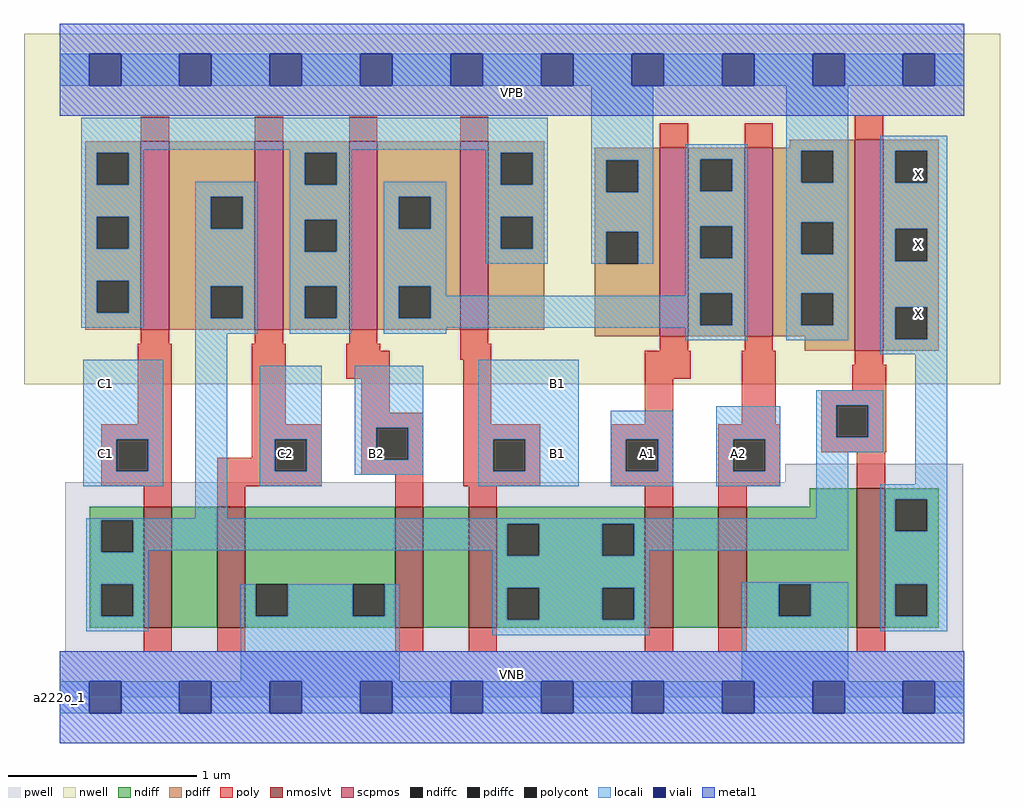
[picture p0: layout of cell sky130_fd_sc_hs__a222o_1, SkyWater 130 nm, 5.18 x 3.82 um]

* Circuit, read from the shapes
.subckt sky130_fd_sc_hs__a222o_1 A1 A2 B1 B2 C1 C2 VGND VNB VPB VPWR X
XM1 n1 C1 n2 VNB sky130_fd_pr__nfet_01v8_lvt w=0.64 l=0.15
XM2 VGND C2 n1 VNB sky130_fd_pr__nfet_01v8_lvt w=0.64 l=0.15
XM3 n3 B2 VGND VNB sky130_fd_pr__nfet_01v8_lvt w=0.64 l=0.15
XM4 n2 B1 n3 VNB sky130_fd_pr__nfet_01v8_lvt w=0.64 l=0.15
XM5 n4 A1 n2 VNB sky130_fd_pr__nfet_01v8_lvt w=0.64 l=0.15
XM6 VGND A2 n4 VNB sky130_fd_pr__nfet_01v8_lvt w=0.64 l=0.15
XM7 X n2 VGND VNB sky130_fd_pr__nfet_01v8_lvt w=0.74 l=0.15
XM8 n2 C1 n5 VPB sky130_fd_pr__pfet_01v8 w=1 l=0.15
XM9 n5 C2 n2 VPB sky130_fd_pr__pfet_01v8 w=1 l=0.15
XM10 n6 B2 n5 VPB sky130_fd_pr__pfet_01v8 w=1 l=0.15
XM11 n5 B1 n6 VPB sky130_fd_pr__pfet_01v8 w=1 l=0.15
XM12 n6 A1 VPWR VPB sky130_fd_pr__pfet_01v8 w=1 l=0.15
XM13 VPWR A2 n6 VPB sky130_fd_pr__pfet_01v8 w=1 l=0.15
XM14 X n2 VPWR VPB sky130_fd_pr__pfet_01v8 w=1.12 l=0.15
.ends

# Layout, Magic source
magic
tech sky130A
magscale 1 2
<< nwell >>
rect -38 332 998 704
<< pwell >>
rect 770 228 959 248
rect 6 49 959 228
rect 0 0 960 49
<< scpmos >>
rect 86 390 116 590
rect 207 390 237 590
rect 307 390 337 590
rect 425 390 455 590
rect 637 383 667 583
rect 727 383 757 583
rect 844 368 874 592
<< nmoslvt >>
rect 89 74 119 202
rect 167 74 197 202
rect 356 74 386 202
rect 434 74 464 202
rect 621 74 651 202
rect 699 74 729 202
rect 846 74 876 222
<< ndiff >>
rect 796 202 846 222
rect 32 188 89 202
rect 32 154 44 188
rect 78 154 89 188
rect 32 120 89 154
rect 32 86 44 120
rect 78 86 89 120
rect 32 74 89 86
rect 119 74 167 202
rect 197 120 356 202
rect 197 86 208 120
rect 242 86 311 120
rect 345 86 356 120
rect 197 74 356 86
rect 386 74 434 202
rect 464 184 621 202
rect 464 150 475 184
rect 509 150 576 184
rect 610 150 621 184
rect 464 116 621 150
rect 464 82 475 116
rect 509 82 576 116
rect 610 82 621 116
rect 464 74 621 82
rect 651 74 699 202
rect 729 120 846 202
rect 729 86 763 120
rect 797 86 846 120
rect 729 74 846 86
rect 876 210 933 222
rect 876 176 887 210
rect 921 176 933 210
rect 876 120 933 176
rect 876 86 887 120
rect 921 86 933 120
rect 876 74 933 86
<< pdiff >>
rect 27 578 86 590
rect 27 544 39 578
rect 73 544 86 578
rect 27 510 86 544
rect 27 476 39 510
rect 73 476 86 510
rect 27 442 86 476
rect 27 408 39 442
rect 73 408 86 442
rect 27 390 86 408
rect 116 531 207 590
rect 116 497 160 531
rect 194 497 207 531
rect 116 436 207 497
rect 116 402 160 436
rect 194 402 207 436
rect 116 390 207 402
rect 237 578 307 590
rect 237 544 260 578
rect 294 544 307 578
rect 237 507 307 544
rect 237 473 260 507
rect 294 473 307 507
rect 237 436 307 473
rect 237 402 260 436
rect 294 402 307 436
rect 237 390 307 402
rect 337 531 425 590
rect 337 497 360 531
rect 394 497 425 531
rect 337 436 425 497
rect 337 402 360 436
rect 394 402 425 436
rect 337 390 425 402
rect 455 578 514 590
rect 775 583 844 592
rect 455 544 468 578
rect 502 544 514 578
rect 455 510 514 544
rect 455 476 468 510
rect 502 476 514 510
rect 455 390 514 476
rect 568 570 637 583
rect 568 536 580 570
rect 614 536 637 570
rect 568 494 637 536
rect 568 460 580 494
rect 614 460 637 494
rect 568 383 637 460
rect 667 571 727 583
rect 667 537 680 571
rect 714 537 727 571
rect 667 500 727 537
rect 667 466 680 500
rect 714 466 727 500
rect 667 429 727 466
rect 667 395 680 429
rect 714 395 727 429
rect 667 383 727 395
rect 757 580 844 583
rect 757 546 787 580
rect 821 546 844 580
rect 757 504 844 546
rect 757 470 787 504
rect 821 470 844 504
rect 757 429 844 470
rect 757 395 787 429
rect 821 395 844 429
rect 757 383 844 395
rect 791 368 844 383
rect 874 580 933 592
rect 874 546 887 580
rect 921 546 933 580
rect 874 497 933 546
rect 874 463 887 497
rect 921 463 933 497
rect 874 414 933 463
rect 874 380 887 414
rect 921 380 933 414
rect 874 368 933 380
<< ndiffc >>
rect 44 154 78 188
rect 44 86 78 120
rect 208 86 242 120
rect 311 86 345 120
rect 475 150 509 184
rect 576 150 610 184
rect 475 82 509 116
rect 576 82 610 116
rect 763 86 797 120
rect 887 176 921 210
rect 887 86 921 120
<< pdiffc >>
rect 39 544 73 578
rect 39 476 73 510
rect 39 408 73 442
rect 160 497 194 531
rect 160 402 194 436
rect 260 544 294 578
rect 260 473 294 507
rect 260 402 294 436
rect 360 497 394 531
rect 360 402 394 436
rect 468 544 502 578
rect 468 476 502 510
rect 580 536 614 570
rect 580 460 614 494
rect 680 537 714 571
rect 680 466 714 500
rect 680 395 714 429
rect 787 546 821 580
rect 787 470 821 504
rect 787 395 821 429
rect 887 546 921 580
rect 887 463 921 497
rect 887 380 921 414
<< poly >>
rect 86 590 116 616
rect 207 590 237 616
rect 307 590 337 616
rect 425 590 455 616
rect 637 583 667 609
rect 727 583 757 609
rect 844 592 874 618
rect 86 375 116 390
rect 207 375 237 390
rect 307 375 337 390
rect 425 375 455 390
rect 83 290 119 375
rect 44 274 119 290
rect 44 240 60 274
rect 94 240 119 274
rect 204 290 240 375
rect 304 368 340 375
rect 304 338 350 368
rect 425 358 458 375
rect 637 368 667 383
rect 727 368 757 383
rect 320 302 350 338
rect 204 274 278 290
rect 204 254 228 274
rect 44 224 119 240
rect 89 202 119 224
rect 167 240 228 254
rect 262 240 278 274
rect 167 224 278 240
rect 320 286 386 302
rect 320 252 336 286
rect 370 252 386 286
rect 320 236 386 252
rect 167 202 197 224
rect 356 202 386 236
rect 428 290 458 358
rect 621 338 670 368
rect 621 290 651 338
rect 724 290 760 368
rect 844 353 874 368
rect 841 326 877 353
rect 808 310 877 326
rect 428 274 510 290
rect 428 240 460 274
rect 494 240 510 274
rect 428 224 510 240
rect 585 274 651 290
rect 585 240 601 274
rect 635 240 651 274
rect 585 224 651 240
rect 434 202 464 224
rect 621 202 651 224
rect 699 274 765 290
rect 699 240 715 274
rect 749 240 765 274
rect 808 276 824 310
rect 858 276 877 310
rect 808 260 877 276
rect 699 224 765 240
rect 699 202 729 224
rect 846 222 876 260
rect 89 48 119 74
rect 167 48 197 74
rect 356 48 386 74
rect 434 48 464 74
rect 621 48 651 74
rect 699 48 729 74
rect 846 48 876 74
<< polycont >>
rect 60 240 94 274
rect 228 240 262 274
rect 336 252 370 286
rect 460 240 494 274
rect 601 240 635 274
rect 715 240 749 274
rect 824 276 858 310
<< locali >>
rect 0 649 31 683
rect 65 649 127 683
rect 161 649 223 683
rect 257 649 319 683
rect 353 649 415 683
rect 449 649 511 683
rect 545 649 607 683
rect 641 649 703 683
rect 737 649 799 683
rect 833 649 895 683
rect 929 649 960 683
rect 23 581 518 615
rect 23 578 89 581
rect 23 544 39 578
rect 73 544 89 578
rect 244 578 310 581
rect 23 510 89 544
rect 23 476 39 510
rect 73 476 89 510
rect 23 442 89 476
rect 23 408 39 442
rect 73 408 89 442
rect 23 392 89 408
rect 144 531 210 547
rect 144 497 160 531
rect 194 497 210 531
rect 144 436 210 497
rect 144 402 160 436
rect 194 402 210 436
rect 144 386 210 402
rect 244 544 260 578
rect 294 544 310 578
rect 452 578 518 581
rect 244 507 310 544
rect 244 473 260 507
rect 294 473 310 507
rect 244 436 310 473
rect 244 402 260 436
rect 294 402 310 436
rect 244 386 310 402
rect 344 531 410 547
rect 344 497 360 531
rect 394 497 410 531
rect 344 436 410 497
rect 452 544 468 578
rect 502 544 518 578
rect 452 510 518 544
rect 452 476 468 510
rect 502 476 518 510
rect 452 460 518 476
rect 564 570 630 649
rect 564 536 580 570
rect 614 536 630 570
rect 564 494 630 536
rect 564 460 580 494
rect 614 460 630 494
rect 664 571 730 587
rect 664 537 680 571
rect 714 537 730 571
rect 664 500 730 537
rect 664 466 680 500
rect 714 466 730 500
rect 344 402 360 436
rect 394 426 410 436
rect 664 429 730 466
rect 664 426 680 429
rect 394 402 680 426
rect 344 395 680 402
rect 714 395 730 429
rect 344 392 730 395
rect 344 386 410 392
rect 25 274 110 358
rect 25 240 60 274
rect 94 240 110 274
rect 25 224 110 240
rect 144 190 178 386
rect 664 379 730 392
rect 771 580 837 649
rect 771 546 787 580
rect 821 546 837 580
rect 771 504 837 546
rect 771 470 787 504
rect 821 470 837 504
rect 771 429 837 470
rect 771 395 787 429
rect 821 395 837 429
rect 771 379 837 395
rect 871 580 942 596
rect 871 546 887 580
rect 921 546 942 580
rect 871 497 942 546
rect 871 463 887 497
rect 921 463 942 497
rect 871 414 942 463
rect 871 380 887 414
rect 921 380 942 414
rect 871 364 942 380
rect 212 274 278 352
rect 212 240 228 274
rect 262 240 278 274
rect 212 224 278 240
rect 313 286 386 352
rect 313 252 336 286
rect 370 252 386 286
rect 313 236 386 252
rect 444 274 551 358
rect 803 310 874 326
rect 444 240 460 274
rect 494 240 551 274
rect 444 224 551 240
rect 585 274 651 304
rect 585 240 601 274
rect 635 240 651 274
rect 585 224 651 240
rect 697 274 765 309
rect 697 240 715 274
rect 749 240 765 274
rect 697 224 765 240
rect 803 276 824 310
rect 858 276 874 310
rect 803 260 874 276
rect 803 190 837 260
rect 908 226 942 364
rect 28 188 837 190
rect 28 154 44 188
rect 78 184 837 188
rect 78 156 475 184
rect 78 154 94 156
rect 28 120 94 154
rect 459 150 475 156
rect 509 150 576 184
rect 610 156 837 184
rect 871 210 942 226
rect 871 176 887 210
rect 921 176 942 210
rect 610 150 626 156
rect 28 86 44 120
rect 78 86 94 120
rect 28 70 94 86
rect 192 86 208 120
rect 242 86 311 120
rect 345 86 361 120
rect 192 17 361 86
rect 459 116 626 150
rect 459 82 475 116
rect 509 82 576 116
rect 610 82 626 116
rect 459 66 626 82
rect 724 120 837 122
rect 724 86 763 120
rect 797 86 837 120
rect 724 17 837 86
rect 871 120 942 176
rect 871 86 887 120
rect 921 86 942 120
rect 871 70 942 86
rect 0 -17 31 17
rect 65 -17 127 17
rect 161 -17 223 17
rect 257 -17 319 17
rect 353 -17 415 17
rect 449 -17 511 17
rect 545 -17 607 17
rect 641 -17 703 17
rect 737 -17 799 17
rect 833 -17 895 17
rect 929 -17 960 17
<< viali >>
rect 31 649 65 683
rect 127 649 161 683
rect 223 649 257 683
rect 319 649 353 683
rect 415 649 449 683
rect 511 649 545 683
rect 607 649 641 683
rect 703 649 737 683
rect 799 649 833 683
rect 895 649 929 683
rect 31 -17 65 17
rect 127 -17 161 17
rect 223 -17 257 17
rect 319 -17 353 17
rect 415 -17 449 17
rect 511 -17 545 17
rect 607 -17 641 17
rect 703 -17 737 17
rect 799 -17 833 17
rect 895 -17 929 17
<< metal1 >>
rect 0 683 960 715
rect 0 649 31 683
rect 65 649 127 683
rect 161 649 223 683
rect 257 649 319 683
rect 353 649 415 683
rect 449 649 511 683
rect 545 649 607 683
rect 641 649 703 683
rect 737 649 799 683
rect 833 649 895 683
rect 929 649 960 683
rect 0 617 960 649
rect 0 17 960 49
rect 0 -17 31 17
rect 65 -17 127 17
rect 161 -17 223 17
rect 257 -17 319 17
rect 353 -17 415 17
rect 449 -17 511 17
rect 545 -17 607 17
rect 641 -17 703 17
rect 737 -17 799 17
rect 833 -17 895 17
rect 929 -17 960 17
rect 0 -49 960 -17
<< labels >>
rlabel comment s 0 0 0 0 4 a222o_1
flabel pwell s 0 0 960 49 0 FreeSans 200 0 0 0 VNB
port 8 nsew ground bidirectional
flabel nwell s 0 617 960 666 0 FreeSans 200 0 0 0 VPB
port 9 nsew power bidirectional
flabel metal1 s 0 617 960 666 0 FreeSans 340 0 0 0 VPWR
port 10 nsew power bidirectional
flabel metal1 s 0 0 960 49 0 FreeSans 340 0 0 0 VGND
port 7 nsew ground bidirectional
flabel locali s 223 242 257 276 0 FreeSans 340 0 0 0 C2
port 6 nsew signal input
flabel locali s 895 390 929 424 0 FreeSans 340 0 0 0 X
port 11 nsew signal output
flabel locali s 895 464 929 498 0 FreeSans 340 0 0 0 X
port 11 nsew signal output
flabel locali s 895 538 929 572 0 FreeSans 340 0 0 0 X
port 11 nsew signal output
flabel locali s 31 242 65 276 0 FreeSans 340 0 0 0 C1
port 5 nsew signal input
flabel locali s 31 316 65 350 0 FreeSans 340 0 0 0 C1
port 5 nsew signal input
flabel locali s 319 242 353 276 0 FreeSans 340 0 0 0 B2
port 4 nsew signal input
flabel locali s 703 242 737 276 0 FreeSans 340 0 0 0 A2
port 2 nsew signal input
flabel locali s 607 242 641 276 0 FreeSans 340 0 0 0 A1
port 1 nsew signal input
flabel locali s 511 242 545 276 0 FreeSans 340 0 0 0 B1
port 3 nsew signal input
flabel locali s 511 316 545 350 0 FreeSans 340 0 0 0 B1
port 3 nsew signal input
<< properties >>
string LEFsite unit
string LEFclass CORE
string FIXED_BBOX 0 0 960 666
string GDS_FILE $PDKPATH/libs.ref/sky130_fd_sc_hs/gds/sky130_fd_sc_hs.gds
string LEFsymmetry X Y
string GDS_END 40676
string GDS_START 31708
<< end >>
